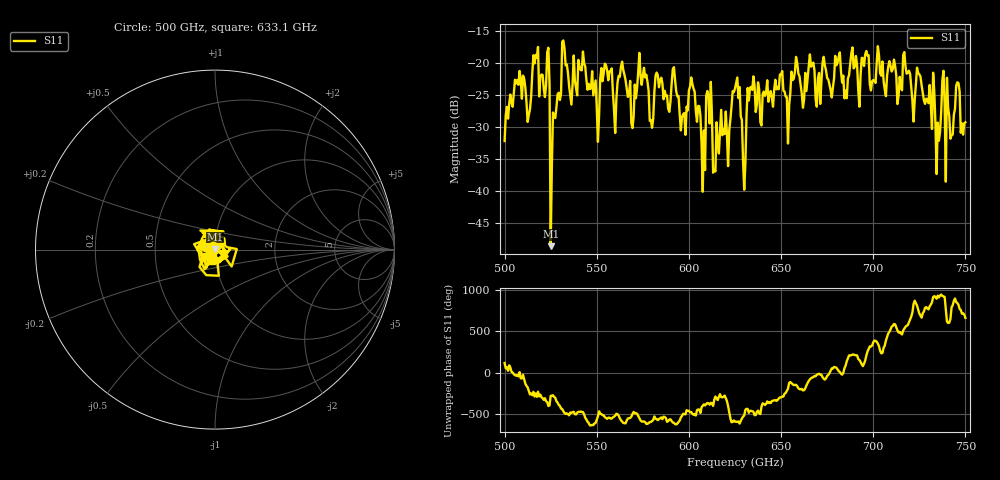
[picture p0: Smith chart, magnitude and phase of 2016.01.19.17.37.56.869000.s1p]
!Created with skrf (http://scikit-rf.org).
# GHz S RI R 50.0
!freq ReS11 ImS11
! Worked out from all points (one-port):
!   401 points, 500 GHz to 750 GHz, reference 50 ohm
!   lowest |S11| = -48.6 dB at 525 GHz (marker M1), VSWR 1.01, Z = 50.1 + j0.364 ohm
!   |S11| at or under -10 dB: start of sweep to end of sweep
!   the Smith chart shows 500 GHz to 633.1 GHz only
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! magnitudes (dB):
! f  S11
! 500 GHz  -32.2
! 506.9 GHz  -22.6
! 513.1 GHz  -28.1
! 516.9 GHz  -18.7
! 523.1 GHz  -18.3
! 525 GHz  -48.6
! 526.2 GHz  -27.7
! 531.2 GHz  -16.6
! 550 GHz  -27.0
! 562.5 GHz  -22.1
! 570 GHz  -28.4
! 574.4 GHz  -23.4
! 579.4 GHz  -28.9
! 583.1 GHz  -21.9
! 593.8 GHz  -25.2
! 601.9 GHz  -23.2
! 607.5 GHz  -40.1
! 610.6 GHz  -25.2
! 614.4 GHz  -36.9
! 625 GHz  -24.0
! 630 GHz  -39.8
! 634.4 GHz  -24.2
! 656.2 GHz  -22.6
! 687.5 GHz  -20.1
! 718.8 GHz  -21.5
! 735 GHz  -29.3
! 745.6 GHz  -23.0
! 750 GHz  -29.2
